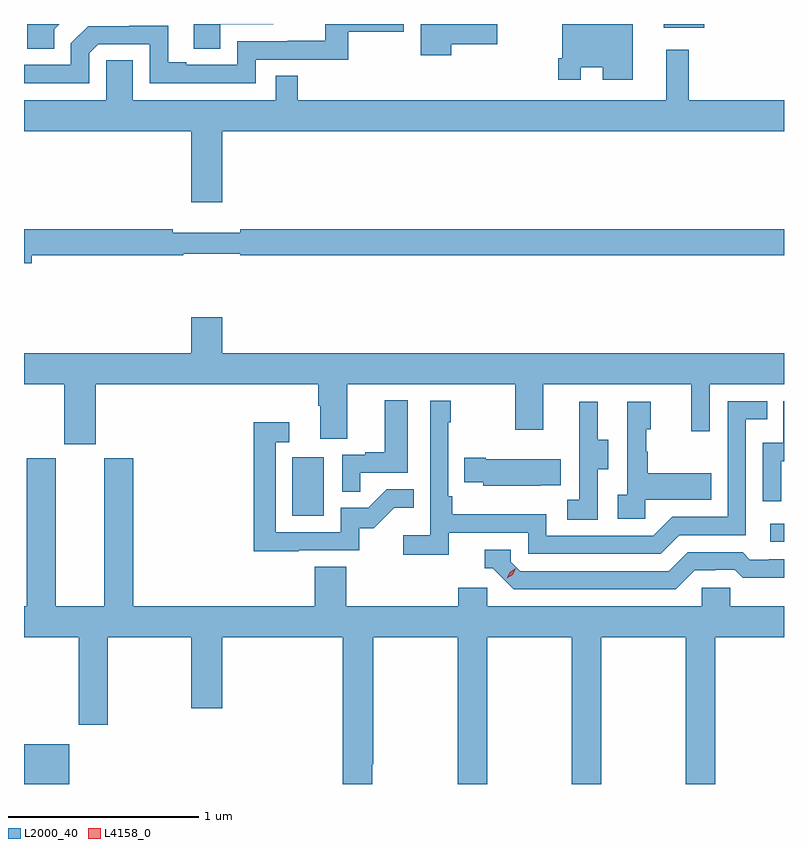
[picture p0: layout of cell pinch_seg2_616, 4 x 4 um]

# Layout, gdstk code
import gdstk
lib = gdstk.Library(unit=1e-6, precision=1e-09)
def R(c, l, rs):  # rectangles x0, y0, x1, y1
    for r in rs: c.add(gdstk.rectangle(r[:2], r[2:], *l))
def P(c, l, *ps):  # polygons
    for p in ps: c.add(gdstk.Polygon(p, *l))
L2000_40 = (2000, 40)
L4158_0 = (4158, 0)

pinch_seg2_616 = lib.new_cell('pinch_seg2_616')
R(pinch_seg2_616, L2000_40, [(1039.253,612.232,1039.492,612.442), (1043.18,613.506,1043.253,613.602), (1040.666,613.644,1040.83,613.951), (1042.619,616.211,1042.834,616.232)])
P(pinch_seg2_616, L2000_40, [(1042.182,616.004),(1042.298,616.004),(1042.298,615.939),(1042.456,615.939),(1042.456,616.232),(1042.086,616.232),(1042.086,616.051),(1042.066,616.051),(1042.066,615.939),(1042.182,615.939)],
  [(1039.596,616.077),(1039.644,616.125),(1039.914,616.125),(1039.914,615.921),(1040.472,615.921),(1040.472,616.044),(1040.959,616.044),(1040.959,616.191),(1041.252,616.191),(1041.252,616.232),(1040.838,616.232),(1040.838,616.145),(1040.641,616.145),(1040.641,616.14),(1040.376,616.14),(1040.376,616.017),(1040.107,616.017),(1040.107,616.03),(1040.011,616.03),(1040.011,616.223),(1039.806,616.223),(1039.806,616.221),(1039.59,616.221),(1039.5,616.131),(1039.5,616.017),(1039.253,616.017),(1039.253,615.921),(1039.596,615.921)],
  [(1041.502,616.126),(1041.745,616.126),(1041.745,616.232),(1041.341,616.232),(1041.341,616.068),(1041.502,616.068)],
  [(1039.411,616.204),(1039.439,616.232),(1039.271,616.232),(1039.271,616.102),(1039.411,616.102)],
  [(1040.287,616.23),(1040.564,616.23),(1040.564,616.232),(1040.147,616.232),(1040.147,616.102),(1040.287,616.102)],
  [(1040.296,615.668),(1043.253,615.668),(1043.253,615.832),(1042.751,615.832),(1042.751,616.096),(1042.634,616.096),(1042.634,615.832),(1040.693,615.832),(1040.693,615.959),(1040.577,615.959),(1040.577,615.832),(1039.825,615.832),(1039.825,616.04),(1039.686,616.04),(1039.686,615.832),(1039.253,615.832),(1039.253,615.668),(1040.132,615.668),(1040.132,615.294),(1040.296,615.294)],
  [(1039.294,615.016),(1040.09,615.016),(1040.09,615.024),(1040.39,615.024),(1040.39,615.016),(1043.253,615.016),(1043.253,615.152),(1040.392,615.152),(1040.392,615.133),(1040.036,615.133),(1040.036,615.152),(1039.253,615.152),(1039.253,614.974),(1039.294,614.974)],
  [(1039.63,614.336),(1040.801,614.336),(1040.801,614.224),(1040.813,614.224),(1040.813,614.05),(1040.953,614.05),(1040.953,614.336),(1041.838,614.336),(1041.838,614.097),(1041.985,614.097),(1041.985,614.336),(1042.766,614.336),(1042.766,614.088),(1042.863,614.088),(1042.863,614.336),(1043.253,614.336),(1043.253,614.5),(1040.296,614.5),(1040.296,614.689),(1040.132,614.689),(1040.132,614.5),(1039.253,614.5),(1039.253,614.336),(1039.466,614.336),(1039.466,614.019),(1039.63,614.019)],
  [(1041.023,613.869),(1041.274,613.869),(1041.274,614.251),(1041.152,614.251),(1041.152,613.978),(1041.049,613.978),(1041.049,613.965),(1040.928,613.965),(1040.928,613.771),(1041.023,613.771)],
  [(1041.488,613.554),(1041.906,613.554),(1041.906,613.443),(1042.603,613.443),(1042.702,613.542),(1043.052,613.542),(1043.052,614.151),(1043.165,614.151),(1043.165,614.247),(1042.956,614.247),(1042.956,613.638),(1042.665,613.638),(1042.566,613.539),(1042.002,613.539),(1042.002,613.651),(1041.506,613.651),(1041.506,613.747),(1041.486,613.747),(1041.486,614.135),(1041.499,614.135),(1041.499,614.248),(1041.39,614.248),(1041.39,613.54),(1041.249,613.54),(1041.249,613.438),(1041.488,613.438)],
  [(1043.238,613.931),(1043.253,613.931),(1043.253,614.247),(1043.25,614.247),(1043.25,614.028),(1043.142,614.028),(1043.142,613.719),(1043.238,613.719)],
  [(1042.524,613.727),(1042.871,613.727),(1042.871,613.867),(1042.537,613.867),(1042.537,613.982),(1042.527,613.982),(1042.527,614.1),(1042.552,614.1),(1042.552,614.245),(1042.428,614.245),(1042.428,613.754),(1042.377,613.754),(1042.377,613.629),(1042.524,613.629)],
  [(1042.272,613.888),(1042.327,613.888),(1042.327,614.043),(1042.273,614.043),(1042.273,614.245),(1042.175,614.245),(1042.175,614.031),(1042.176,614.031),(1042.176,613.727),(1042.113,613.727),(1042.113,613.624),(1042.272,613.624)],
  [(1040.699,613.461),(1041.018,613.461),(1041.018,613.578),(1041.094,613.578),(1041.201,613.685),(1041.305,613.685),(1041.305,613.784),(1041.162,613.784),(1041.064,613.686),(1040.919,613.686),(1040.919,613.557),(1040.577,613.557),(1040.577,614.031),(1040.65,614.031),(1040.65,614.137),(1040.461,614.137),(1040.461,613.456),(1040.699,613.456)],
  [(1041.971,613.805),(1042.079,613.805),(1042.079,613.942),(1041.682,613.942),(1041.682,613.95),(1041.571,613.95),(1041.571,613.82),(1041.669,613.82),(1041.669,613.802),(1041.971,613.802)],
  [(1041.085,612.337),(1041.09,612.337),(1041.09,613.004),(1041.535,613.004),(1041.535,612.232),(1041.69,612.232),(1041.69,613.004),(1042.135,613.004),(1042.135,612.232),(1042.29,612.232),(1042.29,613.004),(1042.735,613.004),(1042.735,612.232),(1042.89,612.232),(1042.89,613.004),(1043.253,613.004),(1043.253,613.168),(1042.971,613.168),(1042.971,613.266),(1042.821,613.266),(1042.821,613.168),(1041.69,613.168),(1041.69,613.266),(1041.539,613.266),(1041.539,613.168),(1040.948,613.168),(1040.948,613.376),(1040.783,613.376),(1040.783,613.168),(1039.829,613.168),(1039.829,613.947),(1039.676,613.947),(1039.676,613.168),(1039.42,613.168),(1039.42,613.947),(1039.268,613.947),(1039.268,613.168),(1039.253,613.168),(1039.253,613.004),(1039.54,613.004),(1039.54,612.543),(1039.695,612.543),(1039.695,613.004),(1040.132,613.004),(1040.132,612.63),(1040.296,612.63),(1040.296,613.004),(1040.93,613.004),(1040.93,612.232),(1041.085,612.232)],
  [(1042.783,613.356),(1042.89,613.356),(1042.89,613.359),(1042.993,613.359),(1043.035,613.317),(1043.253,613.317),(1043.253,613.416),(1043.173,613.416),(1043.173,613.413),(1043.074,613.413),(1043.035,613.452),(1042.746,613.452),(1042.647,613.353),(1041.864,613.353),(1041.816,613.401),(1041.816,613.464),(1041.677,613.464),(1041.677,613.368),(1041.72,613.368),(1041.831,613.257),(1042.684,613.257)])
P(pinch_seg2_616, L4158_0, [(1041.794,613.314),(1041.794,613.314),(1041.81,613.347),(1041.84,613.367),(1041.84,613.367),(1041.84,613.367),(1041.825,613.334),(1041.794,613.314)])

lib.write_gds('pinch_seg2_616.gds')
